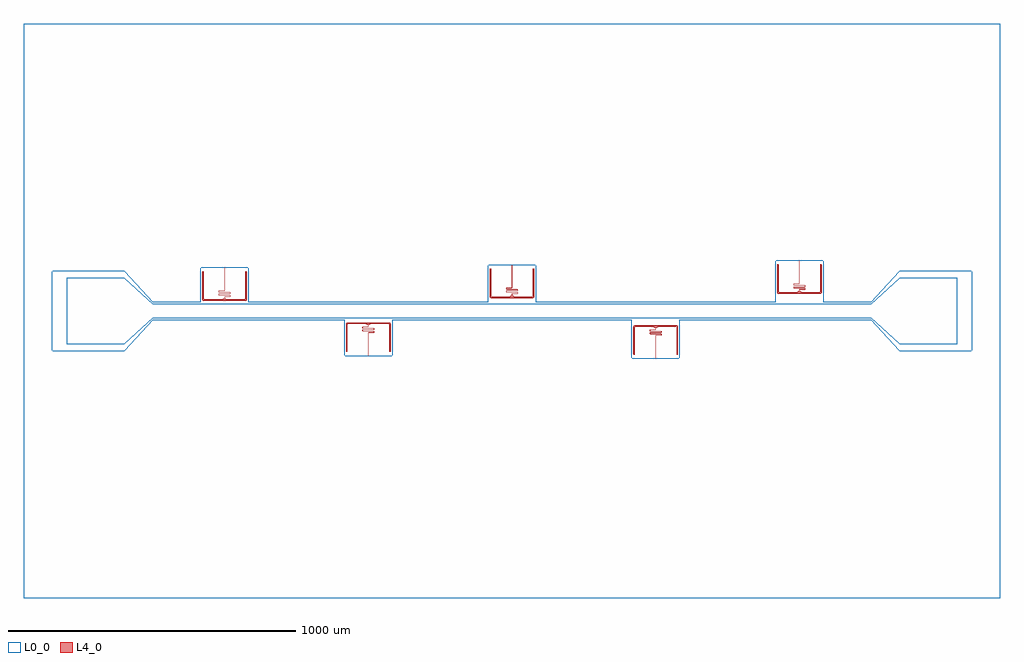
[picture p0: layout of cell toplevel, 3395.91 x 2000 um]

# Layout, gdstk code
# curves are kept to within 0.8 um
import gdstk
lib = gdstk.Library(unit=1e-6, precision=1e-09)
def P(c, l, *ps):  # polygons
    for p in ps: c.add(gdstk.Polygon(p, *l))
L0_0 = (0, 0)
L4_0 = (4, 0)

toplevel = lib.new_cell('toplevel')
P(toplevel, L0_0, [(1697.954,1000),(-1697.954,1000),(-1697.954,-137.954),(-1600,-137.954),(-1600,137.954),(-1350,137.954),(-1250,30.05),(-1082.5,30.05),(-1082.5,150.05),(-917.5,150.05),(-917.5,30.05),(-82.5,30.05),(-82.5,160.05),(82.5,160.05),(82.5,30.05),(917.5,30.05),(917.5,175.05),(1082.5,175.05),(1082.5,30.05),(1250,30.05),(1350,137.954),(1600,137.954),(1600,-137.954),(1350,-137.954),(1250,-30.05),(582.5,-30.05),(582.5,-165.05),(417.5,-165.05),(417.5,-30.05),(-417.5,-30.05),(-417.5,-155.05),(-582.5,-155.05),(-582.5,-30.05),(-1250,-30.05),(-1350,-137.954),(-1697.954,-137.954),(-1697.954,-1000),(1697.954,-1000)],
  [(-1250,25.05),(-1350,115),(-1550,115),(-1550,-115),(-1350,-115),(-1250,-25.05),(1250,-25.05),(1350,-115),(1550,-115),(1550,115),(1350,115),(1250,25.05)])
P(toplevel, L4_0, [(-1070.458,35.05),(-1073.313,35.356),(-1075.466,36.473),(-1076.915,38.45),(-1077.475,41.004),(-1077.5,135.05),(-1076.434,137.098),(-1075.109,137.548),(-1073.846,137.268),(-1072.891,136.393),(-1072.502,135.159),(-1072.496,41.622),(-1072.244,40.297),(-1070.62,40.05),(-1010,40.05),(-1000.3,44.95),(-1000.277,49.276),(-999.54,50.18),(-980.418,50.434),(-980.316,54.185),(-980.803,54.639),(-1019.048,54.651),(-1020.263,55.541),(-1020.262,59.366),(-1019.294,60.232),(-981.015,60.25),(-980.327,60.652),(-980.312,64.156),(-980.79,64.637),(-1019.042,64.651),(-1020.256,65.508),(-1020.272,69.308),(-1019.481,70.196),(-1000.971,70.251),(-1000.331,70.633),(-1000.3,149.95),(-999.7,149.95),(-999.747,70.495),(-1000.882,69.654),(-1019.325,69.617),(-1019.692,69.113),(-1019.67,65.64),(-1018.985,65.25),(-980.705,65.231),(-979.738,64.365),(-979.74,60.528),(-980.957,59.651),(-1019.21,59.637),(-1019.688,59.156),(-1019.482,55.344),(-980.088,54.984),(-979.7,51.072),(-980.309,49.778),(-999.599,49.442),(-999.7,44.95),(-990,40.05),(-927.782,40.278),(-927.498,135.159),(-926.915,136.657),(-925.647,137.465),(-924.145,137.399),(-922.952,136.484),(-922.5,135.05),(-922.503,41.613),(-923.1,38.415),(-924.934,36.168),(-926.821,35.32),(-929.332,35.05)],
  [(-500.3,-154.95),(-500.253,-75.495),(-499.118,-74.654),(-480.675,-74.617),(-480.308,-74.113),(-480.329,-70.64),(-481.015,-70.25),(-519.294,-70.231),(-520.262,-69.365),(-520.26,-65.528),(-519.042,-64.651),(-480.79,-64.637),(-480.312,-64.156),(-480.518,-60.344),(-519.912,-59.984),(-520.3,-56.072),(-519.691,-54.778),(-500.401,-54.442),(-500.3,-49.95),(-510,-45.05),(-572.243,-45.296),(-572.502,-140.159),(-573.393,-141.965),(-575.434,-142.512),(-576.915,-141.657),(-577.5,-140.05),(-577.498,-46.688),(-577.23,-44.371),(-576.428,-42.552),(-574.1,-40.635),(-570.668,-40.05),(-429.332,-40.05),(-426.888,-40.303),(-425.002,-41.122),(-423.1,-43.415),(-422.5,-46.906),(-422.502,-140.159),(-423.085,-141.657),(-424.566,-142.512),(-426.607,-141.965),(-427.498,-140.159),(-427.751,-45.301),(-490,-45.05),(-499.7,-49.95),(-499.723,-54.276),(-500.46,-55.18),(-519.582,-55.434),(-519.684,-59.185),(-519.197,-59.639),(-480.952,-59.651),(-479.737,-60.541),(-479.738,-64.365),(-480.706,-65.231),(-518.985,-65.25),(-519.673,-65.651),(-519.688,-69.156),(-519.21,-69.637),(-480.957,-69.651),(-479.744,-70.508),(-479.728,-74.308),(-480.519,-75.196),(-499.029,-75.251),(-499.669,-75.633),(-499.7,-154.95)],
  [(-70.459,45.05),(-73.313,45.356),(-75.466,46.473),(-76.9,48.415),(-77.478,51.059),(-77.5,145.05),(-76.434,147.098),(-75.218,147.54),(-73.943,147.316),(-72.891,146.393),(-72.502,145.159),(-72.498,51.715),(-72.243,50.296),(-70.62,50.05),(-10,50.05),(-0.3,54.95),(-0.277,59.276),(0.46,60.18),(19.582,60.434),(19.684,64.185),(19.197,64.639),(-19.048,64.651),(-20.263,65.541),(-20.262,69.365),(-19.294,70.231),(18.985,70.25),(19.673,70.651),(19.688,74.156),(19.21,74.637),(-19.042,74.651),(-20.256,75.508),(-20.272,79.308),(-19.481,80.196),(-0.971,80.251),(-0.331,80.633),(-0.3,159.95),(0.3,159.95),(0.253,80.495),(-0.882,79.654),(-19.325,79.617),(-19.692,79.113),(-19.67,75.64),(-18.985,75.25),(19.294,75.231),(20.262,74.365),(20.26,70.528),(19.042,69.651),(-19.21,69.637),(-19.688,69.156),(-19.482,65.344),(19.912,64.984),(20.3,61.072),(19.691,59.778),(0.401,59.442),(0.3,54.95),(10,50.05),(72.223,50.281),(72.502,145.159),(73.085,146.657),(74.353,147.465),(75.855,147.399),(77.048,146.484),(77.5,145.05),(77.495,51.512),(76.9,48.415),(75.066,46.168),(73.179,45.32),(70.668,45.05)],
  [(499.7,-164.95),(499.747,-85.495),(500.882,-84.654),(519.325,-84.617),(519.692,-84.113),(519.67,-80.64),(518.985,-80.25),(480.706,-80.231),(479.738,-79.365),(479.74,-75.528),(480.957,-74.651),(519.21,-74.637),(519.688,-74.156),(519.481,-70.344),(480.088,-69.984),(479.7,-66.072),(480.309,-64.778),(499.599,-64.442),(499.7,-59.95),(490,-55.05),(427.751,-55.301),(427.498,-150.159),(426.607,-151.965),(424.566,-152.512),(423.085,-151.657),(422.5,-150.05),(422.502,-56.688),(422.77,-54.371),(423.572,-52.552),(425.865,-50.65),(429.332,-50.05),(570.668,-50.05),(572.98,-50.271),(574.93,-51.077),(576.899,-53.415),(577.5,-56.93),(577.498,-150.159),(576.915,-151.657),(575.434,-152.512),(573.393,-151.965),(572.502,-150.159),(572.243,-55.296),(510,-55.05),(500.3,-59.95),(500.277,-64.276),(499.54,-65.18),(480.418,-65.434),(480.316,-69.185),(480.803,-69.639),(519.048,-69.651),(520.263,-70.541),(520.262,-74.365),(519.294,-75.231),(481.015,-75.25),(480.327,-75.651),(480.312,-79.156),(480.79,-79.637),(519.042,-79.651),(520.256,-80.508),(520.272,-84.308),(519.481,-85.196),(500.971,-85.251),(500.331,-85.633),(500.3,-164.95)],
  [(929.541,60.05),(926.687,60.356),(924.534,61.473),(923.1,63.415),(922.525,66.004),(922.5,160.05),(923.566,162.098),(924.891,162.548),(926.154,162.268),(927.108,161.393),(927.498,160.159),(927.503,66.659),(927.757,65.296),(929.38,65.05),(990,65.05),(999.7,69.95),(999.723,74.276),(1000.46,75.18),(1019.582,75.434),(1019.684,79.185),(1019.197,79.639),(980.952,79.651),(979.737,80.541),(979.738,84.365),(980.705,85.232),(1018.985,85.25),(1019.673,85.651),(1019.688,89.156),(1019.21,89.637),(980.957,89.651),(979.744,90.508),(979.728,94.308),(980.519,95.196),(999.029,95.251),(999.669,95.633),(999.7,174.95),(1000.3,174.95),(1000.253,95.495),(999.118,94.654),(980.675,94.617),(980.308,94.113),(980.329,90.64),(981.015,90.25),(1019.294,90.232),(1020.262,89.365),(1020.26,85.528),(1019.042,84.651),(980.79,84.637),(980.312,84.156),(980.518,80.344),(1019.912,79.984),(1020.3,76.072),(1019.691,74.778),(1000.401,74.442),(1000.3,69.95),(1010,65.05),(1072.218,65.278),(1072.502,160.159),(1073.016,161.572),(1074.353,162.465),(1075.855,162.399),(1077.048,161.484),(1077.5,160.05),(1077.495,66.512),(1076.884,63.381),(1075.066,61.168),(1073.145,60.311),(1070.668,60.05)])

lib.write_gds('toplevel.gds')
